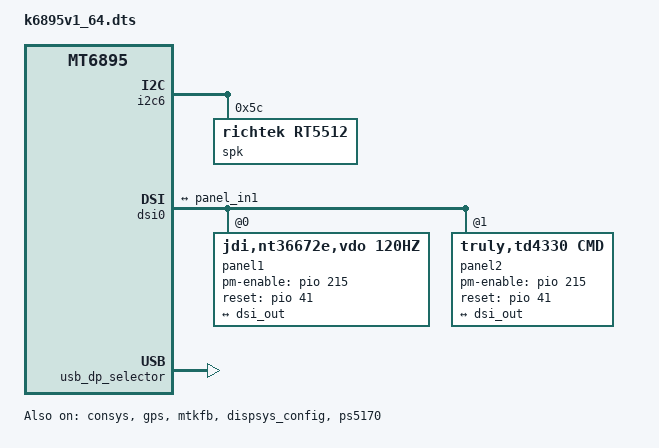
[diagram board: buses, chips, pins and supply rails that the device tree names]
// SPDX-License-Identifier: (GPL-2.0 OR MIT)
/*
 * Copyright (C) 2020 MediaTek Inc.
 * Author: Chun-Hung Wu <chun-hung.wu@mediatek.com>
 */
/dts-v1/;
/plugin/;
#include <dt-bindings/interrupt-controller/arm-gic.h>
#include <dt-bindings/interrupt-controller/irq.h>
#include <dt-bindings/phy/phy.h>
#include <dt-bindings/pinctrl/mt6895-pinfunc.h>

&chosen {
	bootargs_ext = "console=tty0 root=/dev/ram \
androidboot.hardware=mt6895";
};

&odm {
	vibrator0:vibrator@0 {
		compatible = "mediatek,vibrator";
		vib_timer = <25>;
		vib_limit = <9>;
		vib_vol= <9>;
	};
};

&mtk_leds {
	compatible = "mediatek,i2c-leds";

	backlight {
		led_mode = <6>;
		gate_enable = <1>;
		pwm_config = <0 1 0 0 0>;
	};
};

/* AUDIO GPIO standardization start */
&afe {
	pinctrl-names = "aud_clk_mosi_off",
			"aud_clk_mosi_on",
			"aud_dat_mosi_off",
			"aud_dat_mosi_on",
			"aud_dat_mosi_ch34_off",
			"aud_dat_mosi_ch34_on",
			"aud_dat_miso0_off",
			"aud_dat_miso0_on",
			"aud_dat_miso1_off",
			"aud_dat_miso1_on",
			"aud_dat_miso2_off",
			"aud_dat_miso2_on",
			"vow_dat_miso_off",
			"vow_dat_miso_on",
			"vow_clk_miso_off",
			"vow_clk_miso_on",
			"aud_gpio_i2s3_off",
			"aud_gpio_i2s3_on",
			"aud_gpio_i2s0_off",
			"aud_gpio_i2s0_on";
	pinctrl-0 = <&aud_clk_mosi_off>;
	pinctrl-1 = <&aud_clk_mosi_on>;
	pinctrl-2 = <&aud_dat_mosi_off>;
	pinctrl-3 = <&aud_dat_mosi_on>;
	pinctrl-4 = <&aud_dat_mosi_ch34_off>;
	pinctrl-5 = <&aud_dat_mosi_ch34_on>;
	pinctrl-6 = <&aud_dat_miso0_off>;
	pinctrl-7 = <&aud_dat_miso0_on>;
	pinctrl-8 = <&aud_dat_miso1_off>;
	pinctrl-9 = <&aud_dat_miso1_on>;
	pinctrl-10 = <&aud_dat_miso2_off>;
	pinctrl-11 = <&aud_dat_miso2_on>;
	pinctrl-12 = <&vow_dat_miso_off>;
	pinctrl-13 = <&vow_dat_miso_on>;
	pinctrl-14 = <&vow_clk_miso_off>;
	pinctrl-15 = <&vow_clk_miso_on>;
	pinctrl-16 = <&aud_gpio_i2s3_off>;
	pinctrl-17 = <&aud_gpio_i2s3_on>;
	pinctrl-18 = <&aud_gpio_i2s0_off>;
	pinctrl-19 = <&aud_gpio_i2s0_on>;
};
&pio {
	aud_clk_mosi_off: aud_clk_mosi_off {
		pins_cmd1_dat {
			pinmux = <PINMUX_GPIO202__FUNC_GPIO202>;
			input-enable;
			bias-pull-down;
		};
		pins_cmd2_dat {
			pinmux = <PINMUX_GPIO203__FUNC_GPIO203>;
			input-enable;
			bias-pull-down;
		};
	};
	aud_clk_mosi_on: aud_clk_mosi_on {
		pins_cmd1_dat {
			pinmux = <PINMUX_GPIO202__FUNC_AUD_CLK_MOSI>;
			input-schmitt-enable;
			bias-disable;
		};
		pins_cmd2_dat {
			pinmux = <PINMUX_GPIO203__FUNC_AUD_SYNC_MOSI>;
			input-schmitt-enable;
			bias-disable;
		};
};
	aud_dat_mosi_off: aud_dat_mosi_off {
		pins_cmd1_dat {
			pinmux = <PINMUX_GPIO204__FUNC_GPIO204>;
			input-enable;
			bias-pull-down;
		};
		pins_cmd2_dat {
			pinmux = <PINMUX_GPIO205__FUNC_GPIO205>;
			input-enable;
			bias-pull-down;
		};
};
	aud_dat_mosi_on: aud_dat_mosi_on {
		pins_cmd1_dat {
			pinmux = <PINMUX_GPIO204__FUNC_AUD_DAT_MOSI0>;
			input-schmitt-enable;
			bias-disable;
		};
		pins_cmd2_dat {
			pinmux = <PINMUX_GPIO205__FUNC_AUD_DAT_MOSI1>;
			input-schmitt-enable;
			bias-disable;
		};
};
	aud_dat_mosi_ch34_off: aud_dat_mosi_ch34_off {
		pins_cmd1_dat {
			pinmux = <PINMUX_GPIO206__FUNC_GPIO206>;
			input-enable;
			bias-pull-down;
		};
	};
	aud_dat_mosi_ch34_on: aud_dat_mosi_ch34_on {
		pins_cmd1_dat {
			pinmux = <PINMUX_GPIO206__FUNC_AUD_DAT_MOSI2>;
			input-schmitt-enable;
			bias-disable;
		};
	};
	aud_dat_miso0_off: aud_dat_miso0_off {
		pins_cmd1_dat {
			pinmux = <PINMUX_GPIO209__FUNC_GPIO209>;
			input-enable;
			bias-pull-down;
		};
	};
	aud_dat_miso0_on: aud_dat_miso0_on {
		pins_cmd1_dat {
			pinmux = <PINMUX_GPIO209__FUNC_AUD_DAT_MISO0>;
			input-schmitt-enable;
			bias-disable;
		};
	};
	aud_dat_miso1_off: aud_dat_miso1_off {
		pins_cmd1_dat {
			pinmux = <PINMUX_GPIO210__FUNC_GPIO210>;
			input-enable;
			bias-disable;
		};
	};
	aud_dat_miso1_on: aud_dat_miso1_on {
		pins_cmd1_dat {
			pinmux = <PINMUX_GPIO210__FUNC_AUD_DAT_MISO1>;
			input-schmitt-enable;
			bias-disable;
		};
	};
	aud_dat_miso2_off: aud_dat_miso2_off {
		pins_cmd1_dat {
			pinmux = <PINMUX_GPIO211__FUNC_GPIO211>;
			input-enable;
			bias-pull-down;
		};
	};
	aud_dat_miso2_on: aud_dat_miso2_on {
		pins_cmd1_dat {
			pinmux = <PINMUX_GPIO211__FUNC_AUD_DAT_MISO2>;
			input-schmitt-enable;
			bias-disable;
		};
	};
	vow_dat_miso_off: vow_dat_miso_off {
		pins_cmd1_dat {
			pinmux = <PINMUX_GPIO209__FUNC_GPIO209>;
			input-enable;
			bias-pull-down;
		};
	};
	vow_dat_miso_on: vow_dat_miso_on {
		pins_cmd1_dat {
			pinmux = <PINMUX_GPIO209__FUNC_VOW_DAT_MISO>;
			input-schmitt-enable;
			bias-disable;
		};
	};
	vow_clk_miso_off: vow_clk_miso_off {
		pins_cmd1_dat {
			pinmux = <PINMUX_GPIO210__FUNC_GPIO210>;
			input-enable;
			bias-pull-down;
		};
	};
	vow_clk_miso_on: vow_clk_miso_on {
		pins_cmd1_dat {
			pinmux = <PINMUX_GPIO210__FUNC_VOW_CLK_MISO>;
			input-schmitt-enable;
			bias-disable;
		};
	};
	aud_nle_mosi_off: aud_nle_mosi_off {
		pins_cmd1_dat {
			pinmux = <PINMUX_GPIO207__FUNC_GPIO207>;
			input-enable;
			bias-pull-down;
		};
		pins_cmd2_dat {
			pinmux = <PINMUX_GPIO208__FUNC_GPIO208>;
			input-enable;
			bias-pull-down;
		};
	};
	aud_nle_mosi_on: aud_nle_mosi_on {
		pins_cmd1_dat {
			pinmux = <PINMUX_GPIO207__FUNC_AUD_NLE_MOSI1>;
			input-schmitt-enable;
			bias-disable;
		};
		pins_cmd2_dat {
			pinmux = <PINMUX_GPIO208__FUNC_AUD_NLE_MOSI0>;
			input-schmitt-enable;
			bias-disable;
		};
	};
	aud_gpio_i2s0_off: aud_gpio_i2s0_off {
		pins_cmd1_dat {
			pinmux = <PINMUX_GPIO23__FUNC_GPIO23>;
			input-enable;
			bias-pull-down;
		};
	};
	aud_gpio_i2s0_on: aud_gpio_i2s0_on {
		pins_cmd1_dat {
			pinmux = <PINMUX_GPIO23__FUNC_I2S0_DI>;
			input-schmitt-enable;
			bias-disable;
		};
	};
	aud_gpio_i2s3_off: aud_gpio_i2s3_off {
		pins_cmd1_dat {
			pinmux = <PINMUX_GPIO21__FUNC_GPIO21>;
			input-enable;
			bias-pull-down;
		};
		pins_cmd2_dat {
			pinmux = <PINMUX_GPIO22__FUNC_GPIO22>;
			input-enable;
			bias-pull-down;
		};
		pins_cmd3_dat {
			pinmux = <PINMUX_GPIO24__FUNC_GPIO24>;
			input-enable;
			bias-pull-down;
		};
	};
	aud_gpio_i2s3_on: aud_gpio_i2s3_on {
		pins_cmd1_dat {
			pinmux = <PINMUX_GPIO21__FUNC_I2S3_BCK>;
			input-schmitt-enable;
			bias-disable;
		};
		pins_cmd2_dat {
			pinmux = <PINMUX_GPIO22__FUNC_I2S3_LRCK>;
			input-schmitt-enable;
			bias-disable;
		};
		pins_cmd3_dat {
			pinmux = <PINMUX_GPIO24__FUNC_I2S3_DO>;
			input-schmitt-enable;
			bias-disable;
		};
	};
};
/* AUDIO GPIO standardization end */

&i2c6 {
	spk: speaker_amp@5c {
		compatible = "richtek,rt5512";
		#sound-dai-cells = <0>;
		reg = <0x5c>;
		status = "okay";
		sound-name-prefix = "Left";
	};
};

/* CONNSYS TCXO GPIO start */
&consys {
	tcxo_support = "false";
	pinctrl-names = "default", "conninfra_tcxo_set", "conninfra_tcxo_clr";
	pinctrl-0 = <&conninfra_pins_default>;
	pinctrl-1 = <&conninfra_pins_tcxo_set>;
	pinctrl-2 = <&conninfra_pins_tcxo_clr>;
	status = "okay";
};

&pio {
	conninfra_pins_default: conninfra_pins_default {
	};
	conninfra_pins_tcxo_set: conninfra_tcxo_set@gpio {
		pins_cmd_dat {
			pinmux = <PINMUX_GPIO108__FUNC_CONN_TCXOENA_REQ>;
		};
	};
	conninfra_pins_tcxo_clr: conninfra_tcxo_clr@gpio {
		pins_cmd_dat {
			pinmux = <PINMUX_GPIO108__FUNC_GPIO108>;
		};
	};
};
/* CONNSYS TCXO GPIO end */

/* GPS GPIO standardization start */
&pio {
	gps_pins_default: gps_default {
	};

	gps_l1_lna_pins_ol: gps_l1_lna@0 {
		pins_cmd_dat {
			pinmux = <PINMUX_GPIO16__FUNC_GPIO16>;
			output-low;
		};
	};
	gps_l1_lna_pins_dsp_ctrl: gps_l1_lna@1 {
		pins_cmd_dat {
			pinmux = <PINMUX_GPIO16__FUNC_GPS_L1_ELNA_EN>;
		};
	};
	gps_l1_lna_pins_oh: gps_l1_lna@2 {
		pins_cmd_dat {
			pinmux = <PINMUX_GPIO16__FUNC_GPIO16>;
			output-high;
		};
	};

	gps_l5_lna_pins_ol: gps_l5_lna@0 {
		pins_cmd_dat {
			pinmux = <PINMUX_GPIO17__FUNC_GPIO17>;
			output-low;
		};
	};
	gps_l5_lna_pins_dsp_ctrl: gps_l5_lna@1 {
		pins_cmd_dat {
			pinmux = <PINMUX_GPIO17__FUNC_GPS_L5_ELNA_EN>;
		};
	};
	gps_l5_lna_pins_oh: gps_l5_lna@2 {
		pins_cmd_dat {
			pinmux = <PINMUX_GPIO17__FUNC_GPIO17>;
			output-high;
		};
	};
};

&gps {
	pinctrl-names = "default",
		"gps_l1_lna_disable",
		"gps_l1_lna_dsp_ctrl",
		"gps_l1_lna_enable",
		"gps_l5_lna_disable",
		"gps_l5_lna_dsp_ctrl",
		"gps_l5_lna_enable";
	pinctrl-0 = <&gps_pins_default>;
	pinctrl-1 = <&gps_l1_lna_pins_ol>;
	pinctrl-2 = <&gps_l1_lna_pins_dsp_ctrl>;
	pinctrl-3 = <&gps_l1_lna_pins_oh>;
	pinctrl-4 = <&gps_l5_lna_pins_ol>;
	pinctrl-5 = <&gps_l5_lna_pins_dsp_ctrl>;
	pinctrl-6 = <&gps_l5_lna_pins_oh>;
	status = "okay";
};
/* GPS GPIO standardization end */

/* ConnFem start */
&connfem {
#if 0 /* Enable epa_elna node to support Wifi & BT ePA/eLNA FEM on customer load */
	epa_elna {
		parts = <&wlan7207h &wlan7207c>;

		wifi {
			flags-0 {
				open-loop;
			};
		};

		bt {
			flags-0 {
				/* choose one of: epa_elna / epa / elna / bypass */
				epa_elna;
			};
		};
	};
#endif

	epa_elna_mtk {
		parts = <&nofem &nofem>,		/* [0]iPA/iLNA */
			<&wlan7207h &wlan7207c>,	/* [1]7207C: Wifi Open, BT bypass */
			<&wlan7207h &wlan7207c>,	/* [2]7207C: Wifi Open, BT ePA/eLNA */
			<&wlan7207h &wlan7207c>,	/* [3]7207C: Wifi Closed, BT bypass */
			<&wlan7207h &wlan7207c>,	/* [4]7207C: Wifi Closed, BT ePA/eLNA */
			<&wlan7207h &wlan7205c>,	/* [5]7205C: Wifi Open, BT bypass */
			<&wlan7207h &wlan7205c>,	/* [6]7205C: Wifi Open, BT ePA/eLNA */
			<&wlan7207h &wlan7205c>,	/* [7]7205C: Wifi Closed, BT bypass */
			<&wlan7207h &wlan7205c>,	/* [8]7205C: Wifi Closed, BT ePA/eLNA */
			<&qm42195 &qm45197>,		/* [9]QM: Wifi Open, BT bypass */
			<&qm42195 &qm45197>,		/* [10]QM: Wifi Open, BT ePA/eLNA */
			<&qm42195 &qm45197>,		/* [11]QM: Wifi Closed, BT bypass */
			<&qm42195 &qm45197>;		/* [12]QM: Wifi Closed, BT ePA/eLNA */

		wifi {
			flags-1 {
				open-loop;
			};
			flags-2 {
				open-loop;
			};
			flags-5 {
				open-loop;
			};
			flags-6 {
				open-loop;
			};
			flags-9 {
				open-loop;
			};
			flags-10 {
				open-loop;
			};
		};

		bt {
			/* choose one of: epa_elna / epa / elna / bypass */
			flags-1 {
				bypass;
			};
			flags-2 {
				epa_elna;
			};
			flags-3 {
				bypass;
			};
			flags-4 {
				epa_elna;
			};
			flags-5 {
				bypass;
			};
			flags-6 {
				epa_elna;
			};
			flags-7 {
				bypass;
			};
			flags-8 {
				epa_elna;
			};
			flags-9 {
				bypass;
			};
			flags-10 {
				epa_elna;
			};
			flags-11 {
				bypass;
			};
			flags-12 {
				epa_elna;
			};
		};
	};
};
/* ConnFem end */

&sound {
	mediatek,spk-i2s = <3 0>;
	mediatek,speaker-codec {
		sound-dai = <&spk>;
	};
};

&pio {
	mtkfb_pins_lcd_bias_enp1: lcd_bias_enp1_gpio {
		pins_cmd_dat {
			pinmux = <PINMUX_GPIO39__FUNC_GPIO39>;
			slew-rate = <1>;
			output-high;
		};
	};

	mtkfb_pins_lcd_bias_enp0: lcd_bias_enp0_gpio {
		pins_cmd_dat {
			pinmux = <PINMUX_GPIO39__FUNC_GPIO39>;
			slew-rate = <1>;
			output-low;
		};
	};

	mtkfb_pins_lcd_bias_enn1: lcd_bias_enn1_gpio {
		pins_cmd_dat {
			pinmux = <PINMUX_GPIO39__FUNC_GPIO39>;
			slew-rate = <1>;
			output-high;
		};
	};

	mtkfb_pins_lcd_bias_enn0: lcd_bias_enn0_gpio {
		pins_cmd_dat {
			pinmux = <PINMUX_GPIO39__FUNC_GPIO39>;
			slew-rate = <1>;
			output-low;
		};
	};

	mtkfb_pins_lcm_rst_out1_gpio: lcm_rst_out1_gpio {
		pins_cmd_dat {
			pinmux = <PINMUX_GPIO41__FUNC_GPIO41>;
			slew-rate = <1>;
			output-high;
		};
	};

	mtkfb_pins_lcm_rst_out0_gpio: lcm_rst_out0_gpio {
		pins_cmd_dat {
			pinmux = <PINMUX_GPIO41__FUNC_GPIO41>;
			slew-rate = <1>;
			output-low;
		};
	};
	mtkfb_pins_lcm_dsi_te: lcm_dsi_te {
		pins_cmd_dat {
			pinmux = <PINMUX_GPIO40__FUNC_DSI_TE>;
		};
	};

	mtkfb_pins_lcm_led_en1: lcm_led_en1_gpio {
		pins_cmd_dat {
			pinmux = <PINMUX_GPIO215__FUNC_GPIO215>;
			slew-rate = <1>;
			output-high;
		};
	};

	mtkfb_pins_lcm_led_en0: lcm_led_en0_gpio {
		pins_cmd_dat {
			pinmux = <PINMUX_GPIO215__FUNC_GPIO215>;
			slew-rate = <1>;
			output-low;
		};
	};
};

&mtkfb {
	pinctrl-names = "lcd_bias_enp1_gpio", "lcd_bias_enp0_gpio",
		"lcd_bias_enn1_gpio", "lcd_bias_enn0_gpio",
		"lcm_rst_out1_gpio", "lcm_rst_out0_gpio",
		"mode_te_te", "lcm_led_en1_gpio", "lcm_led_en0_gpio";
	pinctrl-0 = <&mtkfb_pins_lcd_bias_enp1>;
	pinctrl-1 = <&mtkfb_pins_lcd_bias_enp0>;
	pinctrl-2 = <&mtkfb_pins_lcd_bias_enn1>;
	pinctrl-3 = <&mtkfb_pins_lcd_bias_enn0>;
	pinctrl-4 = <&mtkfb_pins_lcm_rst_out1_gpio>;
	pinctrl-5 = <&mtkfb_pins_lcm_rst_out0_gpio>;
	pinctrl-6 = <&mtkfb_pins_lcm_dsi_te>;
	pinctrl-7 = <&mtkfb_pins_lcm_led_en1>;
	pinctrl-8 = <&mtkfb_pins_lcm_led_en0>;

	status = "okay";
};
&dispsys_config {
	pinctrl-names =
		"lcm_rst_out1_gpio", "lcm_rst_out0_gpio",
		"mode_te_te";
	pinctrl-0 = <&mtkfb_pins_lcm_rst_out1_gpio>;
	pinctrl-1 = <&mtkfb_pins_lcm_rst_out0_gpio>;
	pinctrl-2 = <&mtkfb_pins_lcm_dsi_te>;
	status = "okay";
};

&dsi0 {
	status = "okay";
	#address-cells = <1>;
	#size-cells = <0>;
	panel1@0 {
		compatible = "jdi,nt36672e,vdo,120hz";
		reg = <0>;
		pm-enable-gpios = <&pio 215 0>;
		reset-gpios = <&pio 41 0>;
		gate-ic = <4831>;
		pinctrl-names = "default";
		port {
			panel_in1: endpoint {
				remote-endpoint = <&dsi_out>;
			};
		};
	};
	panel2@0 {
		compatible = "truly,td4330,cmd";
		reg = <1>;
		pm-enable-gpios = <&pio 215 0>;
		reset-gpios = <&pio 41 0>;
		gate-ic = <4831>;
		pinctrl-names = "default";
		port {
			panel_in2: endpoint {
				remote-endpoint = <&dsi_out>;
			};
		};
	};
	ports {
		port {
			dsi_out: endpoint {
				remote-endpoint = <&panel_in1>;
			};
		};
	};
};

/* usb typec mux start */
&pio {

	ps_enable: ps_enable {
		pins_cmd_dat {
			pinmux = <PINMUX_GPIO158__FUNC_GPIO158>;
			output-high;
		};
	};

	ps_disable: ps_disable {
		pins_cmd_dat {
			pinmux = <PINMUX_GPIO158__FUNC_GPIO158>;
			output-low;
		};
	};

};

&mt6375_typec {
	port {
		tcpc_typec_usb: endpoint@0 {
			remote-endpoint = <&ssusb_mux>;
		};
	};
};

&typec_mux_switch {
	orientation-switch;
	mode-switch;
	accessory;
	port {
		ssusb_mux: endpoint@0 {
			remote-endpoint = <&tcpc_typec_usb>;
		};
	};
};

&ps5170 {
	pinctrl-names = "enable", "disable";
	pinctrl-0 = <&ps_enable>;
	pinctrl-1 = <&ps_disable>;
	status = "okay";
};

&usb_dp_selector {
	status = "okay";
};
/* usb typec mux end */

&pdc {
	pd_vbus_upper_bound = <12000000>;
};

&mmlsys_config {
	racing-enable;
};

#include "mediatek/cust_mt6895_touch_1080x2400.dtsi"
#include "mediatek/cust_mt6895_camera_v4l2.dtsi"
#include <k6895v1_64/cust.dtsi>
/*End of this file, DO NOT ADD ANYTHING HERE*/
